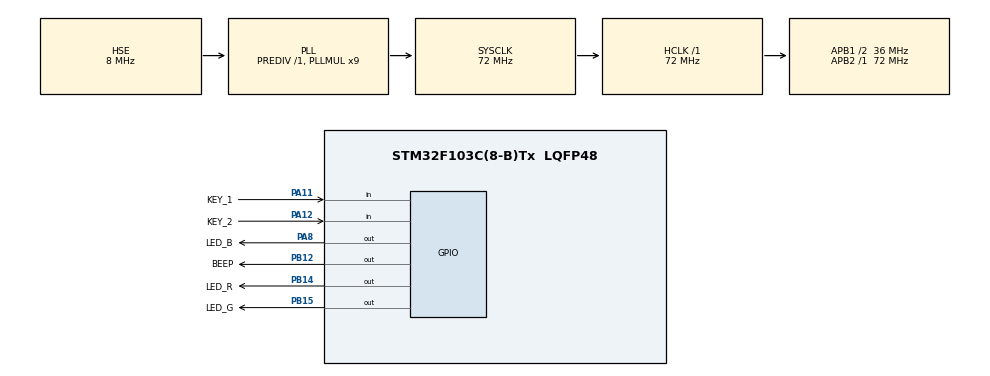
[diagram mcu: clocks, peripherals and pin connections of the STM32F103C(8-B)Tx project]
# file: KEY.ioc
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Mcu.Family=STM32F1
Mcu.Name=STM32F103C(8-B)Tx
Mcu.Package=LQFP48
NVIC.PriorityGroup=NVIC_PRIORITYGROUP_4
PA11.GPIO_Label=KEY_1
PA11.GPIO_PuPd=GPIO_PULLUP
PA11.Signal=GPIO_Input
PA12.GPIO_Label=KEY_2
PA12.GPIO_PuPd=GPIO_PULLUP
PA12.Signal=GPIO_Input
PA13.Mode=Serial_Wire
PA13.Signal=SYS_JTMS-SWDIO
PA14.Mode=Serial_Wire
PA14.Signal=SYS_JTCK-SWCLK
PA8.GPIO_Label=LED_B
PA8.Signal=GPIO_Output
PB12.GPIO_Label=BEEP
PB12.Signal=GPIO_Output
PB14.GPIO_Label=LED_R
PB14.Signal=GPIO_Output
PB15.GPIO_Label=LED_G
PB15.Signal=GPIO_Output
PD0-OSC_IN.Mode=HSE-External-Oscillator
PD0-OSC_IN.Signal=RCC_OSC_IN
PD1-OSC_OUT.Mode=HSE-External-Oscillator
PD1-OSC_OUT.Signal=RCC_OSC_OUT
ProjectManager.HeapSize=0x200
ProjectManager.StackSize=0x400
ProjectManager.TargetToolchain=CMake
RCC.AHBFreq_Value=72000000
RCC.APB1CLKDivider=RCC_HCLK_DIV2
RCC.APB1Freq_Value=36000000
RCC.APB1TimFreq_Value=72000000
RCC.APB2Freq_Value=72000000
RCC.APB2TimFreq_Value=72000000
RCC.HCLKFreq_Value=72000000
RCC.PLLMUL=RCC_PLL_MUL9
RCC.PLLSourceVirtual=RCC_PLLSOURCE_HSE
RCC.SYSCLKFreq_VALUE=72000000
RCC.SYSCLKSource=RCC_SYSCLKSOURCE_PLLCLK
RCC.USBFreq_Value=72000000
board=custom

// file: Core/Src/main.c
/* USER CODE BEGIN Header */
/**
  ******************************************************************************
  * @file           : main.c
  * @brief          : Main program body
  ******************************************************************************
  * @attention
  *
  * Copyright (c) 2026 STMicroelectronics.
  * All rights reserved.
  *
  * This software is licensed under terms that can be found in the LICENSE file
  * in the root directory of this software component.
  * If no LICENSE file comes with this software, it is provided AS-IS.
  *
  ******************************************************************************
  */
/* USER CODE END Header */
#include "main.h"
#include "gpio.h"

/* USER CODE BEGIN Includes */
#include "KEY.h"
#include "BEEP.h"
#include "LED.h"
/* USER CODE END Includes */

/* USER CODE BEGIN PTD */
typedef enum {
    LED_STATE_RED,
    LED_STATE_GREEN,
    LED_STATE_BLUE,
    LED_STATE_OFF
} LED_State;
/* USER CODE END PTD */

/* USER CODE BEGIN PV */
static LED_State current_led_state = LED_STATE_OFF;
static uint8_t beep_state = 0;  // 0:关 1:开
/* USER CODE END PV */

void SystemClock_Config(void);

int main(void)
{

  /* MCU Configuration--------------------------------------------------------*/

  /* Reset of all peripherals, Initializes the Flash interface and the Systick. */
  HAL_Init();

  /* Configure the system clock */
  SystemClock_Config();

  /* Initialize all configured peripherals */
  MX_GPIO_Init();
  /* USER CODE BEGIN 2 */
  BEEP_Init();
  LED_Init();
  current_led_state = LED_STATE_OFF;
  beep_state = 0;
  BEEP_Off();
  /* USER CODE END 2 */

  /* Infinite loop */
  /* USER CODE BEGIN WHILE */
  while (1)
  {
    Key_ID key = KEY_Scan();

    if (key == KEY_1) {
        // 按键1：切换LED状态
        switch (current_led_state) {
            case LED_STATE_OFF:
                LED_R_On();
                LED_G_Off();
                LED_B_Off();
                current_led_state = LED_STATE_RED;
                break;
            case LED_STATE_RED:
                LED_R_Off();
                LED_G_On();
                LED_B_Off();
                current_led_state = LED_STATE_GREEN;
                break;
            case LED_STATE_GREEN:
                LED_R_Off();
                LED_G_Off();
                LED_B_On();
                current_led_state = LED_STATE_BLUE;
                break;
            case LED_STATE_BLUE:
                LED_R_Off();
                LED_G_Off();
                LED_B_Off();
                current_led_state = LED_STATE_OFF;
                break;
            default:
                break;
        }
    }
    else if (key == KEY_2) {
        // 按键2：翻转蜂鸣器
        if (beep_state == 0) {
            BEEP_On();
            beep_state = 1;
        } else {
            BEEP_Off();
            beep_state = 0;
        }
    }

    /* USER CODE END WHILE */

  }
}

void SystemClock_Config(void)
{
  RCC_OscInitTypeDef RCC_OscInitStruct = {0};
  RCC_ClkInitTypeDef RCC_ClkInitStruct = {0};

  /** Initializes the RCC Oscillators according to the specified parameters
  * in the RCC_OscInitTypeDef structure.
  */
  RCC_OscInitStruct.OscillatorType = RCC_OSCILLATORTYPE_HSE;
  RCC_OscInitStruct.HSEState = RCC_HSE_ON;
  RCC_OscInitStruct.HSEPredivValue = RCC_HSE_PREDIV_DIV1;
  RCC_OscInitStruct.HSIState = RCC_HSI_ON;
  RCC_OscInitStruct.PLL.PLLState = RCC_PLL_ON;
  RCC_OscInitStruct.PLL.PLLSource = RCC_PLLSOURCE_HSE;
  RCC_OscInitStruct.PLL.PLLMUL = RCC_PLL_MUL9;
  if (HAL_RCC_OscConfig(&RCC_OscInitStruct) != HAL_OK)
  {
    Error_Handler();
  }

  /** Initializes the CPU, AHB and APB buses clocks
  */
  RCC_ClkInitStruct.ClockType = RCC_CLOCKTYPE_HCLK|RCC_CLOCKTYPE_SYSCLK
                              |RCC_CLOCKTYPE_PCLK1|RCC_CLOCKTYPE_PCLK2;
  RCC_ClkInitStruct.SYSCLKSource = RCC_SYSCLKSOURCE_PLLCLK;
  RCC_ClkInitStruct.AHBCLKDivider = RCC_SYSCLK_DIV1;
  RCC_ClkInitStruct.APB1CLKDivider = RCC_HCLK_DIV2;
  RCC_ClkInitStruct.APB2CLKDivider = RCC_HCLK_DIV1;

  if (HAL_RCC_ClockConfig(&RCC_ClkInitStruct, FLASH_LATENCY_2) != HAL_OK)
  {
    Error_Handler();
  }
}

void Error_Handler(void)
{
  __disable_irq();
  while (1)
  {
  }
}
